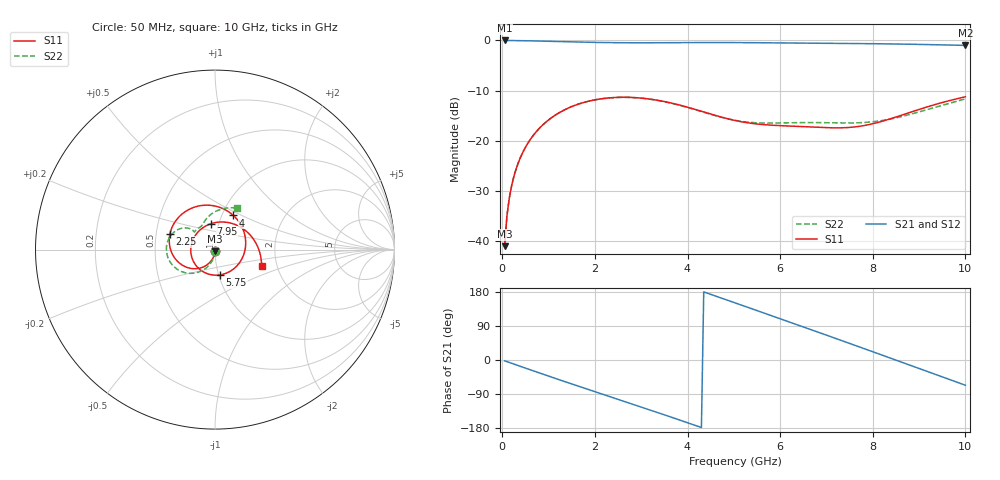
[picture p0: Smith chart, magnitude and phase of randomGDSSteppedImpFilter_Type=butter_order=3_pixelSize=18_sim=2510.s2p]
! freq	dB(S11)	phase(S11)	dB(S12)	phase(S12)
!  dB(S21)	phase(S21)	dB(S22)	phase(S22)
!S-par simulation data
#  GHz  S  DB  R 50
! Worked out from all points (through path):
!   200 points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, 50 MHz to 10 GHz, reference 50 ohm
!   highest |S21| = 0.00 dB at 50 MHz (marker M1); lowest = -1.0 dB at 10 GHz (marker M2)
!   group delay of S21, straight-line fit = 118 ps
!   lowest |S11| = -41.0 dB at 50 MHz (marker M3), VSWR 1.02, Z = 50 - j0.887 ohm
!   |S11| at or under -10 dB: start of sweep to end of sweep
!   |S22| runs from -41.0 to -11.3 dB; largest |S21 - S12| = 0
!   S11 on the Smith chart (normalised r, x): 50 MHz: 1.00, -0.02; 2.25 GHz: 0.59, +0.11; 4 GHz: 1.13, +0.45; 5.75 GHz: 1.01, -0.29; 7.95 GHz: 0.91, +0.27; 10 GHz: 1.66, -0.32
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0.05  -41.03 -92.2  -0.00 -2.2  -0.00 -2.2  -41.03 -91.7
0.1  -35.02 -94.8  -0.01 -4.3  -0.01 -4.3  -35.02 -93.8
0.2  -29.05 -99.8  -0.02 -8.6  -0.02 -8.6  -29.04 -97.7
0.35  -24.29 -107.3  -0.04 -15.0  -0.04 -15.0  -24.28 -103.5
0.5  -21.31 -114.7  -0.06 -21.4  -0.06 -21.4  -21.30 -109.3
1  -15.85 -138.8  -0.16 -42.5  -0.16 -42.5  -15.84 -127.7
1.75  -12.39 -174.8  -0.34 -73.4  -0.34 -73.4  -12.39 -153.8
2.25  -11.51 160.8  -0.43 -93.7  -0.43 -93.7  -11.51 -170.0
2.8  -11.37 132.7  -0.47 -116.0  -0.47 -116.0  -11.38 173.5
3.4  -12.01 99.5  -0.46 -140.5  -0.46 -140.5  -12.04 157.8
4  -13.31 61.8  -0.43 -165.5  -0.43 -165.5  -13.37 145.9
4.5  -14.68 25.6  -0.42 173.3  -0.42 173.3  -14.73 140.3
5.05  -16.01 -19.1  -0.43 149.8  -0.43 149.8  -15.98 139.1
5.75  -16.86 -78.9  -0.47 119.7  -0.47 119.7  -16.49 139.3
6.25  -17.09 -120.1  -0.52 98.1  -0.52 98.1  -16.41 136.5
6.7  -17.29 -156.5  -0.55 78.6  -0.55 78.6  -16.38 131.9
7.3  -17.43 153.9  -0.59 52.5  -0.59 52.5  -16.46 124.9
7.95  -16.72 99.6  -0.64 24.0  -0.64 24.0  -16.26 117.8
8.35  -15.72 69.1  -0.69 6.3  -0.69 6.3  -15.73 112.5
9.1  -13.47 22.5  -0.81 -26.8  -0.81 -26.8  -13.99 95.5
9.55  -12.26 0.2  -0.89 -46.7  -0.89 -46.7  -12.79 80.4
10  -11.23 -18.9  -0.99 -66.6  -0.99 -66.6  -11.65 62.3
